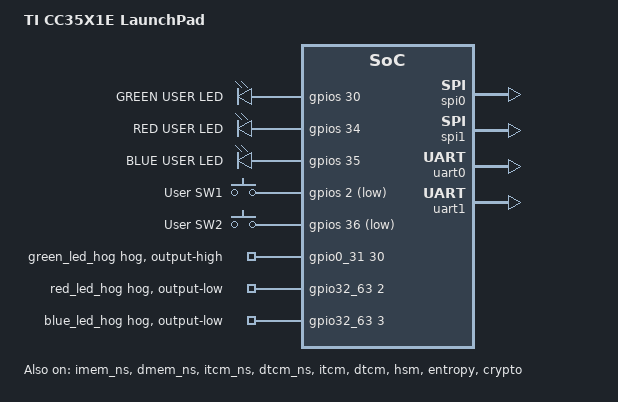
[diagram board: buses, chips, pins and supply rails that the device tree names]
/*
 * Copyright (c) 2025 Conclusive Engineering Sp. z o.o.
 *
 * SPDX-License-Identifier: Apache-2.0
 */

/dts-v1/;

#include <ti/cc35xxe.dtsi>
#include <zephyr/dt-bindings/gpio/gpio.h>
#include "lp_em_cc35x1-pinctrl.dtsi"

/ {
	model = "TI CC35X1E LaunchPad";
	compatible = "ti,launchpad-cc35x1e";

	chosen {
		zephyr,sram = &dmem_ns;
		zephyr,flash = &extflash_ns;
		zephyr,itcm = &itcm_ns;
		zephyr,dtcm = &dtcm_ns;
		zephyr,code-partition = &dmem_ns;
		zephyr,console = &uart1;
		zephyr,shell-uart = &uart1;
		zephyr,entropy = &entropy;
		zephyr,rtc = &rtc;
	};

	leds {
		compatible = "gpio-leds";
		green_led: green_led {
			gpios = <&gpios 30 GPIO_ACTIVE_HIGH>;
			label = "GREEN USER LED";
		};
		red_led: red_led {
			gpios = <&gpios 34 GPIO_ACTIVE_HIGH>;
			label = "RED USER LED";
		};
		blue_led: blue_led {
			gpios = <&gpios 35 GPIO_ACTIVE_HIGH>;
			label = "BLUE USER LED";
		};
	};

	buttons {
		compatible = "gpio-keys";
		user_switch_1: user_sw_1 {
			gpios = <&gpios 2 GPIO_ACTIVE_LOW>;
			label = "User SW1";
		};
		user_switch_2: user_sw_2{
			gpios = <&gpios 36 GPIO_ACTIVE_LOW>;
			label = "User SW2";
		};
	};

	aliases {
		led0 = &green_led;
		led1 = &red_led;
		led2 = &blue_led;
		sw0 = &user_switch_1;
		sw1 = &user_switch_2;
		rtc = &rtc;
	};
};


&imem_ns {
	status = "okay";
};

&dmem_ns {
	status = "okay";
};

&itcm_ns {
	status = "okay";
};

&dtcm_ns {
	status = "okay";
};

&itcm {
	status = "okay";
};

&dtcm {
	status = "okay";
};

&dma {
	status = "okay";
};

&spi0 {
	status = "okay";
	pinctrl-0 = <&spi0_master>;
	pinctrl-names = "default";
	cs-gpios = <&gpios 26 GPIO_ACTIVE_LOW>;
};

&spi1 {
	status = "okay";
	pinctrl-0 = <&spi1_slave>;
	pinctrl-names = "default";
};

&flash2 {
	partitions {
		compatible = "fixed-partitions";
		#address-cells = <1>;
		#size-cells = <1>;

		storage_partition: partition@0 {
			label = "storage";
			reg = <0x00000000 0x001ea000>;
		};
	};
};

&uart0 {
	status = "okay";
	pinctrl-0 = <&uart0_default>;
	pinctrl-names = "default";
	dmas = <&dma 2>, <&dma 3>;
	dma-names = "tx", "rx";
};

&uart1 {
	status = "okay";
	pinctrl-0 = <&uart1_default>;
	pinctrl-names = "default";
	dmas = <&dma 0>, <&dma 1>;
	dma-names = "tx", "rx";
};

&hsm {
	status = "okay";
};

&entropy {
	status = "okay";
};

&crypto {
	status = "okay";
};

&gpio0_31 {
	green_led_hog {
		gpio-hog;
		gpios = <30 GPIO_ACTIVE_HIGH>;
		output-high;
	};
};

&gpio32_63 {
	red_led_hog {
		gpio-hog;
		gpios = <2 GPIO_ACTIVE_HIGH>;
		output-low;
	};
	blue_led_hog {
		gpio-hog;
		gpios = <3 GPIO_ACTIVE_HIGH>;
		output-low;
	};
};
